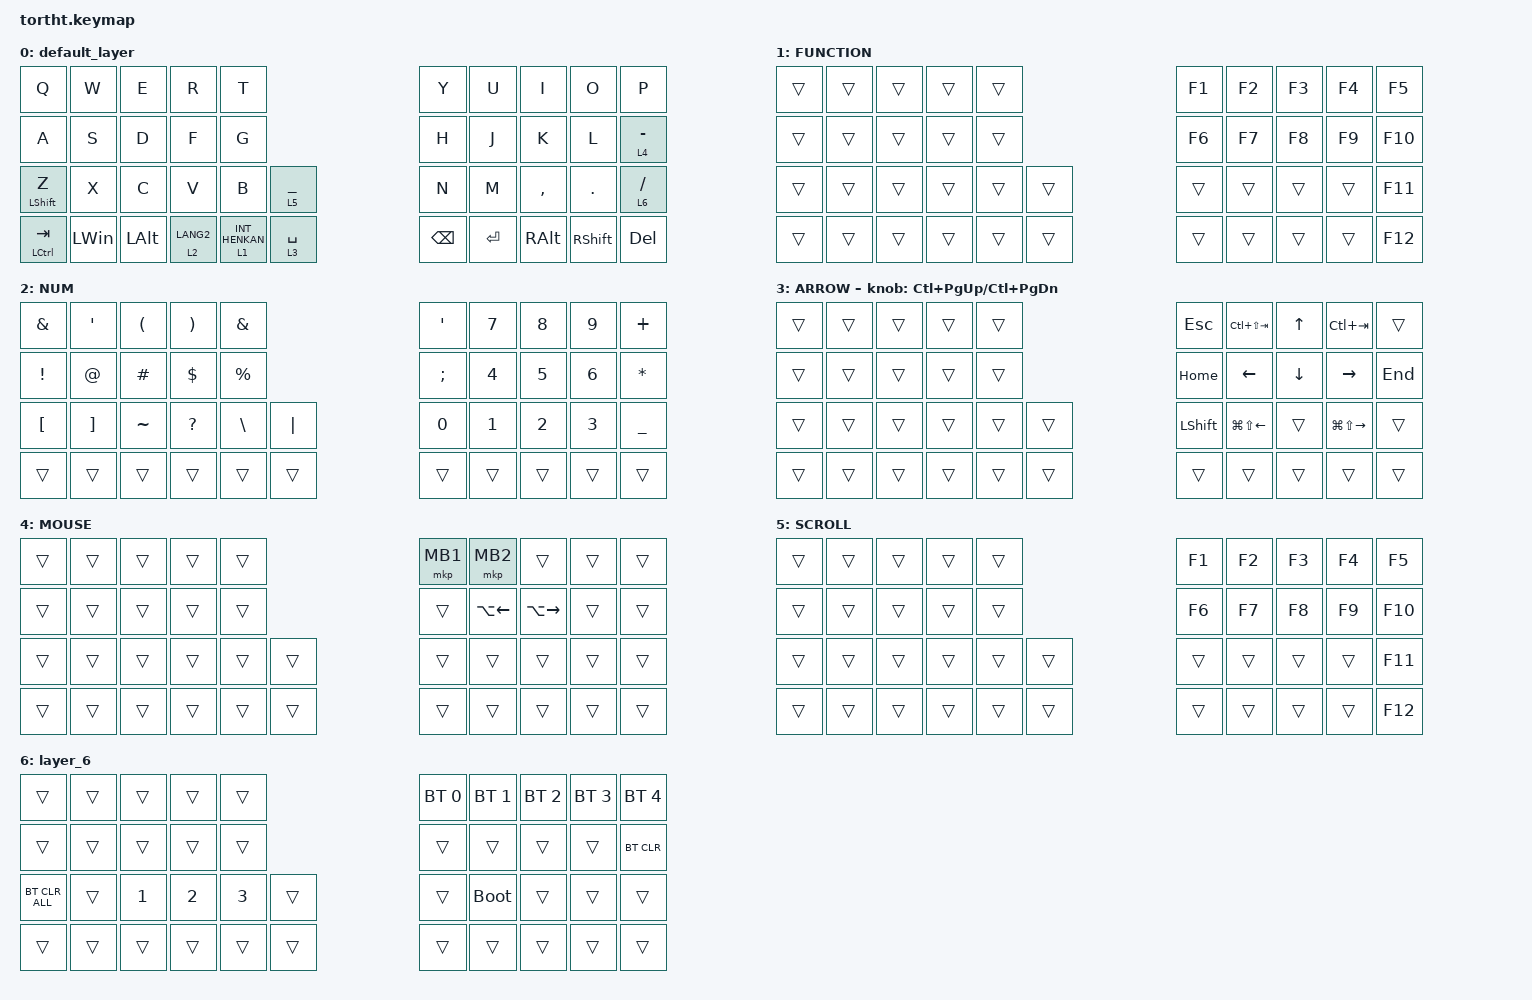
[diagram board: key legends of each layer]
#include <input/processors.dtsi>
#include <behaviors.dtsi>
#include <dt-bindings/zmk/bt.h>
#include <dt-bindings/zmk/keys.h>
#include <dt-bindings/zmk/pointing.h>

#define MOUSE 4
#define SCROLL 5
#define NUM 6
#define JP_DQUOTE       AT                // "
#define JP_AMPERSAND    CARET             // &
#define JP_QUOTE        AMPERSAND         // '
#define JP_EQUAL        UNDER             // =
#define JP_CARET        EQUAL             // ^
#define JP_YEN          0x89              // ¥
#define JP_PLUS         COLON             // +
#define JP_TILDE        PLUS              // ~
#define JP_PIPE         LS(0x89)          // |
#define JP_AT           LEFT_BRACKET      // @
#define JP_COLON        SINGLE_QUOTE      // :
#define JP_ASTERISK     DOUBLE_QUOTES     // *
#define JP_BACKQUOTE    LEFT_BRACE        // `
#define JP_UNDERSCORE   LS(0x87)          // _
#define JP_LBRACKET     RIGHT_BRACKET     // [
#define JP_RBRACKET     BACKSLASH         // ]
#define JP_LPAREN       ASTERISK          // (
#define JP_RPAREN       LEFT_PARENTHESIS  // )
#define JP_LBRACE       RIGHT_BRACE       // {
#define JP_RBRACE       PIPE              // }
#define JP_KANA         LANGUAGE_1        // かな
#define JP_EISU         LANGUAGE_2        // 英数
#define JP_HANZEN       GRAVE             // 半角/全角

&mt {
    flavor = "balanced";
    quick-tap-ms = <0>;
};

&mkp_input_listener { input-processors = <&zip_temp_layer 4 250>; };

/ {
    macros {
        to_layer_0: to_layer_0 {
            compatible = "zmk,behavior-macro-one-param";
            #binding-cells = <1>;
            bindings = <&to 0 &macro_param_1to1 &kp MACRO_PLACEHOLDER>;
            label = "TO_LAYER_0";
        };

        exit_AML: exit_AML {
            compatible = "zmk,behavior-macro";
            wait-ms = <0>;
            tap-ms = <0>;
            #binding-cells = <0>;
            bindings = <&tog_off MOUSE>;
            label = "exit_AML";
        };

        kp_exit_AML: kp_exit_AML {
            compatible = "zmk,behavior-macro-one-param";
            wait-ms = <0>;
            tap-ms = <0>;
            #binding-cells = <1>;
            bindings = <&macro_param_1to1 &kp MACRO_PLACEHOLDER &exit_AML>;
            label = "KP_exit_AML";
        };
    };

    behaviors {
        lt_to_layer_0: lt_to_layer_0 {
            compatible = "zmk,behavior-hold-tap";
            label = "LAYER_TAP_TO_0";
            bindings = <&mo>, <&to_layer_0>;

            #binding-cells = <2>;
            tapping-term-ms = <200>;
        };

        tog_off: toggle_layer_off {
            compatible = "zmk,behavior-toggle-layer";
            #binding-cells = <1>;
            display-name = "Toggle Layer Off";
            toggle-mode = "off";
        };

        mt_exit_AML_on_tap: mt_exit_AML_on_tap {
            compatible = "zmk,behavior-hold-tap";
            label = "MT_exit_AML_ON_TAP";
            bindings = <&kp>, <&kp_exit_AML>;

            #binding-cells = <2>;
            tapping-term-ms = <200>;
            flavor = "balanced";
            quick-tap-ms = <200>;
        };
    };

    combos {
        compatible = "zmk,combos";

        combo_layer5 {
            timeout-ms = <100>;
            key-positions = <5 6>;     // y と u の位置
            bindings = <&mo 5>;        // 押している間レイヤー5
            layers = <4>;              // レイヤー4でのみ有効
        };
    };

    keymap {
        compatible = "zmk,keymap";

        default_layer {
            bindings = <
&kp Q             &kp W         &kp E         &kp R                   &kp T                                                         &kp Y          &kp U      &kp I      &kp O       &kp P
&kp A             &kp S         &kp D         &kp F                   &kp G                                                         &kp H          &kp J      &kp K      &kp L       &lt_to_layer_0 4 MINUS
&mt LEFT_SHIFT Z  &kp X         &kp C         &kp V                   &kp B                        &lt_to_layer_0 5 JP_EQUAL        &kp N          &kp M      &kp COMMA  &kp DOT     &lt_to_layer_0 6 SLASH
&mt LCTRL TAB     &kp LEFT_WIN  &kp LEFT_ALT  &lt_to_layer_0 2 LANG2  &lt_to_layer_0 1 INT_HENKAN  &lt 3 SPACE                      &kp BACKSPACE  &kp ENTER  &kp RALT   &kp RSHIFT  &kp DEL
            >;
        };

        FUNCTION {
            bindings = <
&trans  &trans  &trans  &trans  &trans                &kp F1  &kp F2  &kp F3  &kp F4  &kp F5
&trans  &trans  &trans  &trans  &trans                &kp F6  &kp F7  &kp F8  &kp F9  &kp F10
&trans  &trans  &trans  &trans  &trans  &trans        &trans  &trans  &trans  &trans  &kp F11
&trans  &trans  &trans  &trans  &trans  &trans        &trans  &trans  &trans  &trans  &kp F12
            >;
        };

        NUM {
            bindings = <
&kp AMPERSAND    &kp SQT   &kp LPAR   &kp RPAR    &kp AMPS                     &kp SQT       &kp NUMBER_7  &kp NUMBER_8  &kp NUMBER_9  &kp PLUS
&kp EXCLAMATION  &kp AT    &kp HASH   &kp DOLLAR  &kp PERCENT                  &kp SEMI      &kp NUMBER_4  &kp NUMBER_5  &kp NUMBER_6  &kp ASTRK
&kp LBKT         &kp RBKT  &kp TILDE  &kp QMARK   &kp BSLH     &kp PIPE        &kp NUMBER_0  &kp NUMBER_1  &kp NUMBER_2  &kp NUMBER_3  &kp UNDER
&trans           &trans    &trans     &trans      &trans       &trans          &trans        &trans        &trans        &trans        &trans
            >;
        };

        ARROW {
            bindings = <
&trans  &trans  &trans  &trans  &trans                &kp ESCAPE      &kp LC(LS(TAB))         &kp UP_ARROW    &kp LC(TAB)              &trans
&trans  &trans  &trans  &trans  &trans                &kp HOME        &kp LEFT_ARROW          &kp DOWN_ARROW  &kp RIGHT_ARROW          &kp END
&trans  &trans  &trans  &trans  &trans  &trans        &kp LEFT_SHIFT  &kp LG(LS(LEFT_ARROW))  &trans          &kp LG(LS(RIGHT_ARROW))  &trans
&trans  &trans  &trans  &trans  &trans  &trans        &trans          &trans                  &trans          &trans                   &trans
            >;

            sensor-bindings = <&inc_dec_kp LC(PAGE_UP) LC(PAGE_DOWN)>;
        };

        MOUSE {
            bindings = <
&trans  &trans  &trans  &trans  &trans                &mkp MB1  &mkp MB2            &trans               &trans  &trans
&trans  &trans  &trans  &trans  &trans                &trans    &kp LA(LEFT_ARROW)  &kp LA(RIGHT_ARROW)  &trans  &trans
&trans  &trans  &trans  &trans  &trans  &trans        &trans    &trans              &trans               &trans  &trans
&trans  &trans  &trans  &trans  &trans  &trans        &trans    &trans              &trans               &trans  &trans
            >;
        };

        SCROLL {
            bindings = <
&trans  &trans  &trans  &trans  &trans                &kp F1  &kp F2  &kp F3  &kp F4  &kp F5
&trans  &trans  &trans  &trans  &trans                &kp F6  &kp F7  &kp F8  &kp F9  &kp F10
&trans  &trans  &trans  &trans  &trans  &trans        &trans  &trans  &trans  &trans  &kp F11
&trans  &trans  &trans  &trans  &trans  &trans        &trans  &trans  &trans  &trans  &kp F12
            >;
        };

        layer_6 {
            bindings = <
&trans          &trans  &trans        &trans        &trans                      &bt BT_SEL 0  &bt BT_SEL 1  &bt BT_SEL 2  &bt BT_SEL 3  &bt BT_SEL 4
&trans          &trans  &trans        &trans        &trans                      &trans        &trans        &trans        &trans        &bt BT_CLR
&bt BT_CLR_ALL  &trans  &kp NUMBER_1  &kp NUMBER_2  &kp NUMBER_3  &trans        &trans        &bootloader   &trans        &trans        &trans
&trans          &trans  &trans        &trans        &trans        &trans        &trans        &trans        &trans        &trans        &trans
            >;
        };
    };
};
